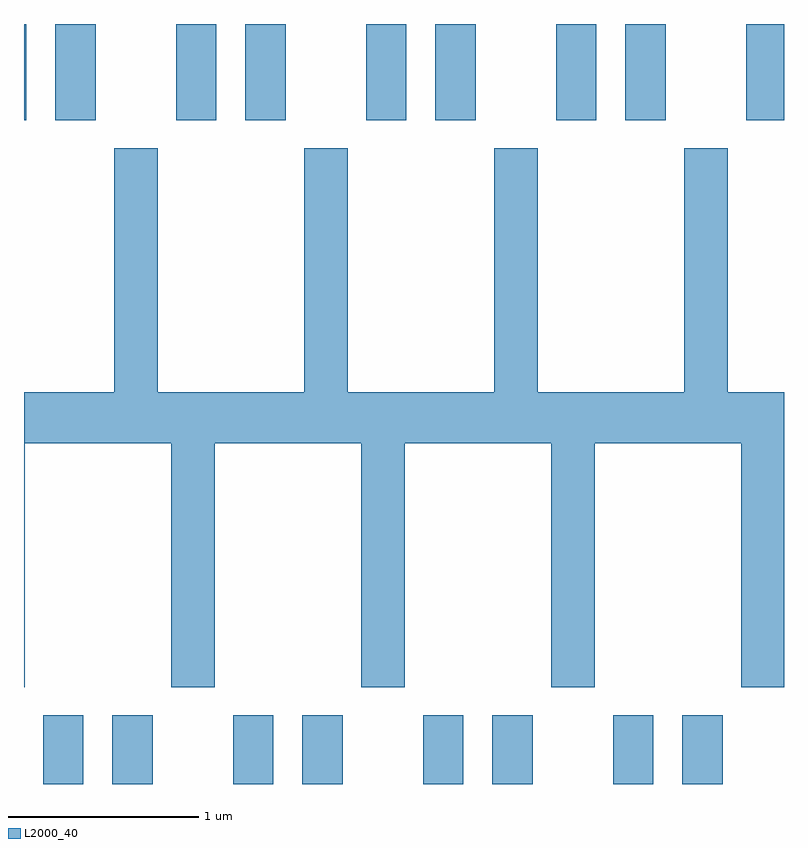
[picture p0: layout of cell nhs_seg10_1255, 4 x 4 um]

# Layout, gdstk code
import gdstk
lib = gdstk.Library(unit=1e-6, precision=1e-09)
def R(c, l, rs):  # rectangles x0, y0, x1, y1
    for r in rs: c.add(gdstk.rectangle(r[:2], r[2:], *l))
def P(c, l, *ps):  # polygons
    for p in ps: c.add(gdstk.Polygon(p, *l))
L2000_40 = (2000, 40)

nhs_seg10_1255 = lib.new_cell('nhs_seg10_1255')
R(nhs_seg10_1255, L2000_40, [(221.711,2156.522,221.924,2156.884), (222.076,2156.522,222.289,2156.884), (222.711,2156.522,222.924,2156.884), (223.076,2156.522,223.289,2156.884), (223.711,2156.522,223.924,2156.884), (224.076,2156.522,224.289,2156.884), (224.711,2156.522,224.924,2156.884), (225.076,2156.522,225.289,2156.884), (221.611,2160.016,221.624,2160.522), (221.776,2160.016,221.989,2160.522), (222.411,2160.016,222.624,2160.522), (222.776,2160.016,222.989,2160.522), (223.411,2160.016,223.624,2160.522), (223.776,2160.016,223.989,2160.522), (224.411,2160.016,224.624,2160.522), (224.776,2160.016,224.989,2160.522), (225.411,2160.016,225.611,2160.522)])
P(nhs_seg10_1255, L2000_40, [(221.614,2158.316),(222.386,2158.316),(222.386,2157.031),(222.614,2157.031),(222.614,2158.316),(223.386,2158.316),(223.386,2157.031),(223.614,2157.031),(223.614,2158.316),(224.386,2158.316),(224.386,2157.031),(224.614,2157.031),(224.614,2158.316),(225.386,2158.316),(225.386,2157.031),(225.611,2157.031),(225.611,2158.584),(225.314,2158.584),(225.314,2159.869),(225.086,2159.869),(225.086,2158.584),(224.314,2158.584),(224.314,2159.869),(224.086,2159.869),(224.086,2158.584),(223.314,2158.584),(223.314,2159.869),(223.086,2159.869),(223.086,2158.584),(222.314,2158.584),(222.314,2159.869),(222.086,2159.869),(222.086,2158.584),(221.611,2158.584),(221.611,2157.031),(221.614,2157.031)])

lib.write_gds('nhs_seg10_1255.gds')
